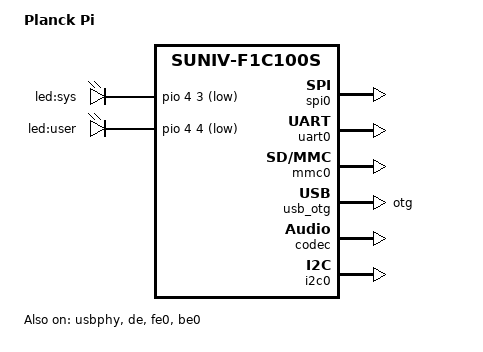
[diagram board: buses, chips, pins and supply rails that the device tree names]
// SPDX-License-Identifier: (GPL-2.0+ OR X11)

/dts-v1/;
#include "suniv-f1c100s.dtsi"

/ {
	model = "Planck Pi";
	compatible = "allwinner,suniv-f1c200s",
			 "allwinner,suniv-f1c100s";

	aliases {
		serial0 = &uart0;
	};

	chosen {
		#address-cells = <1>;
		#size-cells = <1>;
		ranges;

		stdout-path = "serial0:115200n8";
	};

	leds {
		compatible = "gpio-leds";

		sys_led {
			label = "led:sys";
			gpios = <&pio 4 3 GPIO_ACTIVE_LOW>; /* PE3 */
			default-state = "on";
		};

		user_led {
			label = "led:user";
			gpios = <&pio 4 4 GPIO_ACTIVE_LOW>; /* PE4 */
		};

		/*
		 *	点亮LED
		 *	echo 1 > /sys/class/leds/led\:user/brightness
		 *	熄灭LED
		 *	echo 0 > /sys/class/leds/led\:user/brightness
		 *	控制LED闪烁
		 *	# ls /sys/class/leds/led:user
		 *	brightness      max_brightness  subsystem       uevent
		 *	device          power           trigger
		 *	echo heartbeat > /sys/class/leds/led:user/trigger
		 */

	};
};

&spi0 {
	status = "okay";
};

&uart0 {
	pinctrl-names = "default";
	pinctrl-0 = <&uart0_pe_pins>;
	status = "okay";
};

/*
&uart1 {
	pinctrl-names = "default";
	pinctrl-0 = <&uart1_pa_pins>;
	status = "okay";
};
*/

&mmc0 {
	status = "okay";
	broken-cd;
};

&otg_sram {
	status = "okay";
};

&usb_otg {
	dr_mode = "otg"; /* host device */
	status = "okay";
};

&usbphy {
	status = "okay";
	usb0_id_det-gpios = <&pio 4 2 (GPIO_ACTIVE_HIGH | GPIO_PULL_UP)>; /* PE2 */
};

/*
&cedar_ve {
	status = "okay";
};
*/

/*
&ion {
	status = "okay";
};
*/

&de {
	status = "okay";
};

&fe0 {
	status = "okay";
};

&be0 {
	status = "okay";
};

/*
&tve0 {
	status = "okay";
};
*/

/*
&tcon0 {
	pinctrl-names = "default";
	pinctrl-0 = <&lcd_rgb565_pins>;
	status = "okay";
};
*/

&codec {
	allwinner,audio-routing =
		"Headphone", "HP",
		"Headphone", "HPCOM",
		"LINEIN", "Line In",
		"FMINL", "Left FM In",
		"FMINR", "Right FM In",
		"MIC", "Mic";
	status = "okay";
};

&i2c0 {
	status = "okay";
	
	/*
	ssd1306fb: ssd1306fb@3c {
		compatible = "solomon,ssd1306fb-i2c";
		reg = <0x3c>;
		solomon,width = <128>;
		solomon,height = <80>;
		reset-gpios = <&pio 3 7 GPIO_ACTIVE_HIGH>; //PD7
		solomon,page-offset = <0>;
		solomon,com-invdir;
		solomon,dclk-frq = <5>;
		debug = <0>;
	};
	*/

	/*
	ov2640: camera@30 {
		compatible = "ovti,ov2640";
		reg = <0x30>;
		pinctrl-0 = <&clk_out_pins>;
		pinctrl-names = "default";
		clocks = <&clk_out>;
		clock-names = "xvclk";
		assigned-clocks = <&clk_out>;
		assigned-clock-rates = <24000000>;

		port {
			ov2640_ep: endpoint {
				remote-endpoint = <&csi0_ep>;
				bus-width = <8>;
				hsync-active = <0>;
				vsync-active = <0>;
				pclk-sample = <1>;
			};
		};
	};
	*/

	/*
	ov5640: camera@3c {
		compatible = "ovti,ov5640";
		reg = <0x3c>;
		pinctrl-0 = <&clk_out_pins>;
		pinctrl-names = "default";
		clocks = <&clk_out>;
		clock-names = "xclk";
		assigned-clocks = <&clk_out>;
		assigned-clock-rates = <24000000>;
		status = "disabled";

		port {
			ov5640_ep: endpoint {
				remote-endpoint = <&csi0_ep>;
				bus-width = <8>;
				hsync-active = <0>;
				vsync-active = <0>;
				pclk-sample = <1>;
			};
		};
	};
	*/
};

/*
&csi0 {
	pinctrl-names = "default";
	pinctrl-0 = <&csi0_pins>;
	packed-format;
	status = "okay";

	port {
		csi0_ep: endpoint {
			remote-endpoint = <&ov2640_ep>;
			bus-width = <8>;
			hsync-active = <0>;
			vsync-active = <0>;
			pclk-sample = <1>;
		};
	};
};
*/
